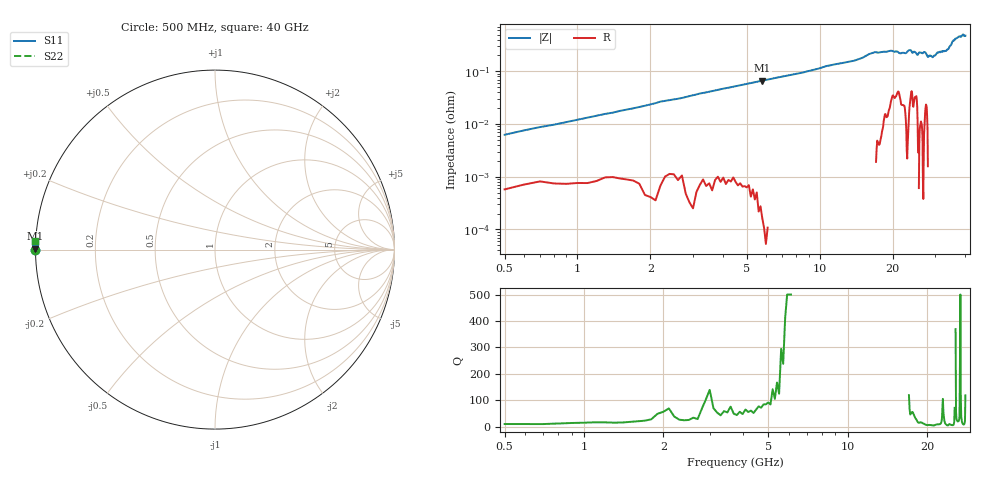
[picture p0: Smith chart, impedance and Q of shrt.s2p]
!Keysight Technologies,N5247B,MY61255062,A.15.50.07
!Date: Thursday, February 13, 2025 10:46:03
!Correction: S11(C  2-Port  )
!S21(C  2-Port  )
!S12(C  2-Port  )
!S22(C  2-Port  )
!S2P File: Measurements: S11, S21, S12, S22:
# Hz S  MA  R 50
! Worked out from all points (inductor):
!   396 points, 500 MHz to 40 GHz, reference 50 ohm
!   read as one part in shunt: L = 1.93 pH near 600 MHz
!   highest Q = 413 at 5.8 GHz (marker M1), where L = 1.83 pH
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5e8  1 180.0  0.0002506 84.7  0.0002518 83.2  1 180.0
7e8  1 180.0  0.0003507 84.6  0.0003439 85.8  1 180.0
1.1e9  1 179.9  0.0005291 86.6  0.0005258 86.0  1 179.9
2.2e9  1 179.9  0.001066 88.4  0.001062 88.6  1.001 179.9
3.9e9  1.001 179.8  0.001831 88.8  0.001833 88.6  1.001 179.7
5.8e9  1 179.7  0.002664 89.5  0.002661 89.4  1.001 179.6
7.1e9  1 179.6  0.003224 90.2  0.003227 90.1  1.001 179.5
1.06e10  1.001 179.4  0.005009 93.7  0.005004 93.9  1.001 179.3
1.37e10  1.001 179.2  0.006292 94.4  0.006293 94.3  1.001 179.1
1.68e10  1.001 179.0  0.009196 91.0  0.009188 90.9  1.001 178.8
2.03e10  1 178.7  0.009448 80.7  0.00946 80.8  1.001 178.6
2.27e10  1 178.6  0.008853 85.4  0.008841 85.4  1.001 178.4
2.37e10  1 178.6  0.01014 81.7  0.01014 81.6  1.001 178.4
2.54e10  1.002 178.5  0.008195 85.5  0.008216 85.5  1.001 178.3
2.69e10  1.001 178.3  0.009183 87.7  0.009244 87.6  1.002 178.2
2.8e10  1.001 178.3  0.007546 87.8  0.007558 88.1  1.001 178.2
2.93e10  1.001 178.3  0.007412 100.7  0.007428 99.8  1.002 178.1
3.07e10  1.001 178.1  0.009135 109.0  0.009115 109.2  1.001 177.9
3.35e10  0.9998 178.0  0.01018 122.3  0.01021 122.2  1 177.8
3.63e10  1.005 177.7  0.01672 126.5  0.0168 126.2  1.004 177.5
3.91e10  1.001 177.7  0.02005 116.2  0.0202 115.9  1.001 177.5
4e10  1.004 177.5  0.01908 113.1  0.01898 112.6  1.002 177.4
